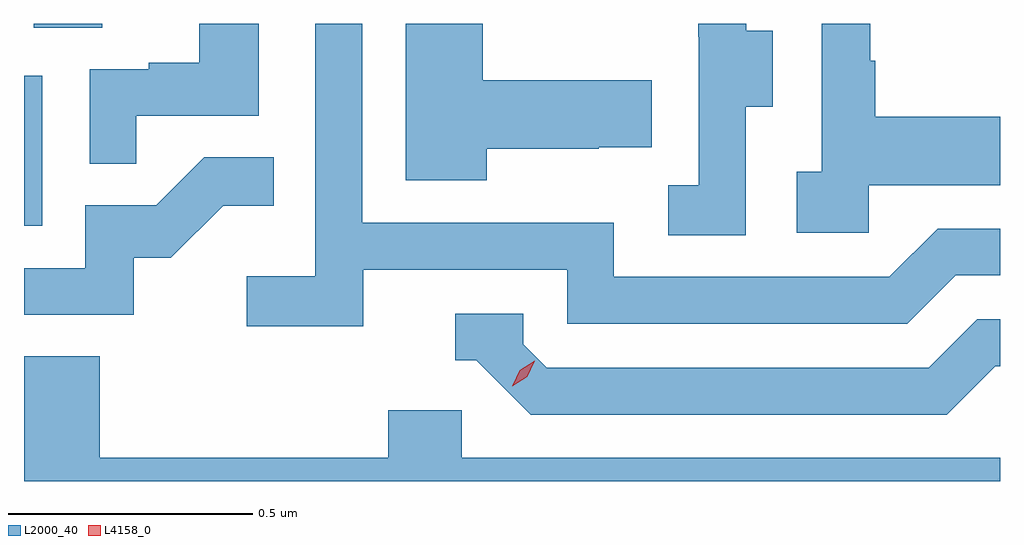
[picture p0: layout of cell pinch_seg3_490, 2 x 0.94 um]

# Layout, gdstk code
import gdstk
lib = gdstk.Library(unit=1e-6, precision=1e-09)
def R(c, l, rs):  # rectangles x0, y0, x1, y1
    for r in rs: c.add(gdstk.rectangle(r[:2], r[2:], *l))
def P(c, l, *ps):  # polygons
    for p in ps: c.add(gdstk.Polygon(p, *l))
L2000_40 = (2000, 40)
L4158_0 = (4158, 0)

pinch_seg3_490 = lib.new_cell('pinch_seg3_490')
R(pinch_seg3_490, L2000_40, [(1008.825,666.924,1008.862,667.231), (1008.845,667.33,1008.985,667.338)])
P(pinch_seg3_490, L2000_40, [(1009.773,667.082),(1010.003,667.082),(1010.003,667.085),(1010.111,667.085),(1010.111,667.222),(1009.765,667.222),(1009.765,667.338),(1009.607,667.338),(1009.607,667.017),(1009.773,667.017)],
  [(1009.055,667.149),(1009.306,667.149),(1009.306,667.338),(1009.184,667.338),(1009.184,667.258),(1009.081,667.258),(1009.081,667.245),(1008.96,667.245),(1008.96,667.051),(1009.055,667.051)],
  [(1010.304,667.168),(1010.359,667.168),(1010.359,667.323),(1010.305,667.323),(1010.305,667.338),(1010.207,667.338),(1010.207,667.311),(1010.208,667.311),(1010.208,667.007),(1010.145,667.007),(1010.145,666.904),(1010.304,666.904)],
  [(1009.52,666.834),(1009.938,666.834),(1009.938,666.723),(1010.635,666.723),(1010.734,666.822),(1010.825,666.822),(1010.825,666.918),(1010.697,666.918),(1010.598,666.819),(1010.034,666.819),(1010.034,666.93),(1009.518,666.93),(1009.518,667.338),(1009.422,667.338),(1009.422,666.82),(1009.281,666.82),(1009.281,666.718),(1009.52,666.718)],
  [(1010.556,667.007),(1010.825,667.007),(1010.825,667.147),(1010.569,667.147),(1010.569,667.262),(1010.559,667.262),(1010.559,667.338),(1010.46,667.338),(1010.46,667.034),(1010.409,667.034),(1010.409,666.909),(1010.556,666.909)],
  [(1009.05,666.858),(1009.126,666.858),(1009.233,666.965),(1009.337,666.965),(1009.337,667.064),(1009.194,667.064),(1009.096,666.966),(1008.951,666.966),(1008.951,666.837),(1008.825,666.837),(1008.825,666.741),(1009.05,666.741)],
  [(1010.815,666.636),(1010.825,666.636),(1010.825,666.732),(1010.778,666.732),(1010.679,666.633),(1009.896,666.633),(1009.848,666.681),(1009.848,666.744),(1009.709,666.744),(1009.709,666.648),(1009.752,666.648),(1009.863,666.537),(1010.716,666.537)],
  [(1010.825,666.448),(1009.722,666.448),(1009.722,666.546),(1009.571,666.546),(1009.571,666.448),(1008.98,666.448),(1008.98,666.656),(1008.825,666.656),(1008.825,666.4),(1010.825,666.4)])
P(pinch_seg3_490, L4158_0, [(1009.825,666.595),(1009.825,666.595),(1009.841,666.628),(1009.872,666.647),(1009.872,666.647),(1009.872,666.647),(1009.856,666.614),(1009.825,666.595)])

lib.write_gds('pinch_seg3_490.gds')
